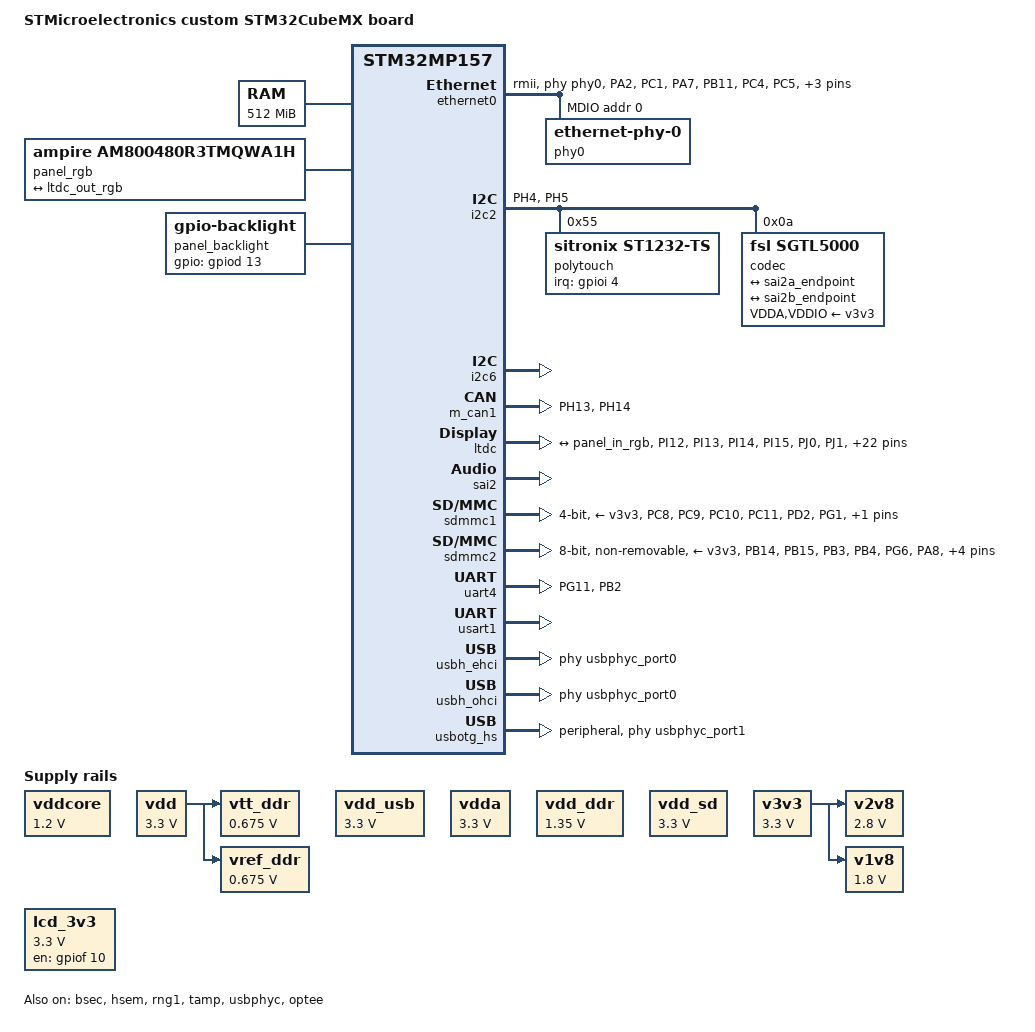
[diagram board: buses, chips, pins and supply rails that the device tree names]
	/* SPDX-License-Identifier: (GPL-2.0+ OR BSD-3-Clause) */
	/*
	* Copyright (C) STMicroelectronics 2020 - All Rights Reserved
	* Author: STM32CubeMX code generation for STMicroelectronics.
	*/

	/* For more information on Device Tree configuration, please refer to
	* https://wiki.st.com/stm32mpu/wiki/Category:Device_tree_configuration
	*/

/dts-v1/;
#include <dt-bindings/pinctrl/stm32-pinfunc.h>

#include "stm32mp157.dtsi"
#include "stm32mp15xa.dtsi"
#include "stm32mp15-pinctrl.dtsi"
#include "stm32mp15xxaa-pinctrl.dtsi"
#include "stm32mp157-m4-srm.dtsi"
#include "stm32mp157-m4-srm-pinctrl.dtsi"

/* SAME OF KERNEL */
/* STM32MP157
 * 256 DDR
 * 600MHz
 */

/ {
		model = "STMicroelectronics custom STM32CubeMX board";
		compatible = "st,stm32mp157a-icorest-mx", "st,stm32mp157";

	config {
	    st,reset-phy-gpios = <&gpiod 10 GPIO_ACTIVE_LOW>;
	};

	aliases {
		ethernet0 = &ethernet0;
		serial0 = &uart4;
		serial1 = &uart8;
		serial2 = &usart3;
		serial3 = &uart7;
		serial4 = &usart1;
	};

	usb_phy_tuning: usb-phy-tuning {
		st,hs-dc-level = <2>;
		st,fs-rftime-tuning;
		st,hs-rftime-reduction;
		st,hs-current-trim = <15>;
		st,hs-impedance-trim = <1>;
		st,squelch-level = <3>;
		st,hs-rx-offset = <2>;
		st,no-lsfs-sc;
	};

	memory@c0000000 {
		device_type = "memory";
		reg = <0xc0000000 0x20000000>;
	};

	reserved-memory {
		#address-cells = <1>;
		#size-cells = <1>;
		ranges;

		optee_memory: optee@0xde000000 {
			reg = <0xde000000 0x02000000>;
			no-map;
		};

		mcuram2: mcuram2@10000000 {
			compatible = "shared-dma-pool";
			reg = <0x10000000 0x40000>;
			no-map;
		};

		vdev0vring0: vdev0vring0@10040000 {
			compatible = "shared-dma-pool";
			reg = <0x10040000 0x1000>;
			no-map;
		};

		vdev0vring1: vdev0vring1@10041000 {
			compatible = "shared-dma-pool";
			reg = <0x10041000 0x1000>;
			no-map;
		};

		vdev0buffer: vdev0buffer@10042000 {
			compatible = "shared-dma-pool";
			reg = <0x10042000 0x4000>;
			no-map;
		};

		mcuram: mcuram@30000000 {
			compatible = "shared-dma-pool";
			reg = <0x30000000 0x40000>;
			no-map;
		};

		retram: retram@38000000 {
			compatible = "shared-dma-pool";
			reg = <0x38000000 0x10000>;
			no-map;
		};
	};


	/* USER CODE BEGIN root */
	vddcore: regulator-vddcore {
		compatible = "regulator-fixed";
		regulator-name = "vddcore";
		regulator-min-microvolt = <1200000>;
		regulator-max-microvolt = <1200000>;
		regulator-always-on;
	};

	vdd: regulator-vdd {
		compatible = "regulator-fixed";
		regulator-name = "vdd";
		regulator-min-microvolt = <3300000>;
		regulator-max-microvolt = <3300000>;
		regulator-always-on;
	};

	vdd_usb: regulator-vdd_usb {
		compatible = "regulator-fixed";
		regulator-name = "vdd_usb";
		regulator-min-microvolt = <3300000>;
		regulator-max-microvolt = <3300000>;
		regulator-always-on;
	};

	vdda: regulator-vdda {
		compatible = "regulator-fixed";
		regulator-name = "vdda";
		regulator-min-microvolt = <3300000>;
		regulator-max-microvolt = <3300000>;
		regulator-always-on;
	};

	vdd_ddr: regulator-vdd_ddr {
		compatible = "regulator-fixed";
		regulator-name = "vdd_ddr";
		regulator-min-microvolt = <1350000>;
		regulator-max-microvolt = <1350000>;
		regulator-always-on;
	};

	vtt_ddr: regulator-vtt_ddr {
		compatible = "regulator-fixed";
		regulator-name = "vtt_ddr";
		regulator-min-microvolt = <675000>;
		regulator-max-microvolt = <675000>;
		regulator-always-on;
		vin-supply = <&vdd>;
	};

	vref_ddr: regulator-vref_ddr {
		compatible = "regulator-fixed";
		regulator-name = "vref_ddr";
		regulator-min-microvolt = <675000>;
		regulator-max-microvolt = <675000>;
		regulator-always-on;
		vin-supply = <&vdd>;
	};

	vdd_sd: regulator-vdd_sd {
		compatible = "regulator-fixed";
		regulator-name = "vdd_sd";
		regulator-min-microvolt = <3300000>;
		regulator-max-microvolt = <3300000>;
		regulator-always-on;
	};

	v3v3: regulator-v3v3 {
		compatible = "regulator-fixed";
		regulator-name = "v3v3";
		regulator-min-microvolt = <3300000>;
		regulator-max-microvolt = <3300000>;
		regulator-always-on;
	};

	v2v8: regulator-v2v8 {
		compatible = "regulator-fixed";
		regulator-name = "v2v8";
		regulator-min-microvolt = <2800000>;
		regulator-max-microvolt = <2800000>;
		regulator-always-on;
		vin-supply = <&v3v3>;
	};

	v1v8: regulator-v1v8 {
		compatible = "regulator-fixed";
		regulator-name = "v1v8";
		regulator-min-microvolt = <1800000>;
		regulator-max-microvolt = <1800000>;
		regulator-always-on;
		vin-supply = <&v3v3>;
	};

	/*vbus_otg: regulator-vbus_otg {
		compatible = "regulator-fixed";
		regulator-name = "vbus_otg";
		regulator-min-microvolt = <5000000>;
		regulator-max-microvolt = <5000000>;
		regulator-always-on;
	};*/

	lcd_3v3: regulator-lcd_3v3 {
		compatible = "regulator-fixed";
		regulator-name = "lcd_3v3";
		regulator-min-microvolt = <3300000>;
		regulator-max-microvolt = <3300000>;
		gpio = <&gpiof 10 0>;
		enable-active-high;
		regulator-always-on;
	};
	/* USER CODE END root */

	clocks {
		#ifndef CONFIG_STM32MP1_TRUSTED
		clk_lsi: clk-lsi {
			clock-frequency = <32000>;
		};
		clk_hsi: clk-hsi {
			clock-frequency = <64000000>;
		};
		clk_csi: clk-csi {
			clock-frequency = <4000000>;
		};
		clk_lse: clk-lse {
			clock-frequency = <32768>;
		};
		clk_hse: clk-hse {
			clock-frequency = <24000000>;
		};
	#endif	/*CONFIG_STM32MP1_TRUSTED*/
	};

	panel_rgb: panel-rgb {
		compatible = "ampire,am800480r3tmqwa1h";
		status = "okay";
		port {
			panel_in_rgb: endpoint {
				remote-endpoint = <&ltdc_out_rgb>;
			};
		};
	};

	panel_backlight: panel-backlight {
		compatible = "gpio-backlight";
		gpios = <&gpiod 13 GPIO_ACTIVE_HIGH>;
		default-on;
		status = "okay";
	};

};

&pinctrl {
	u-boot,dm-pre-reloc;

	eth1_pins_mx: eth1_mx-0 {
		pins1 {
			pinmux = <STM32_PINMUX('A', 2, AF11)>, /* ETH_MDIO */
				<STM32_PINMUX('C', 1, AF11)>, /* ETH_MDC */
				<STM32_PINMUX('A', 7, AF11)>, /* ETH_RX_DV */
				<STM32_PINMUX('B', 11, AF11)>, /* ETH_TX_EN */
				<STM32_PINMUX('C', 4, AF11)>, /* ETH_RX_D0 */
				<STM32_PINMUX('C', 5, AF11)>, /* ETH_RX_D1 */
				<STM32_PINMUX('G', 13, AF11)>, /* ETH_TX_D0 */
				<STM32_PINMUX('G', 14, AF11)>; /* ETH_TX_D1 */
			bias-disable;
			drive-push-pull;
			slew-rate = <3>;
		};

		pins2 {
			pinmux = <STM32_PINMUX('A', 1, AF0)>; /* ETH_CLK */
			bias-disable;
			slew-rate = <1>;
		};
	};

	fdcan1_pins_mx: fdcan1_mx-0 {
		pins1 {
			pinmux = <STM32_PINMUX('H', 13, AF9)>; /* FDCAN1_TX */
			bias-disable;
			drive-push-pull;
			slew-rate = <0>;
		};
		pins2 {
			pinmux = <STM32_PINMUX('H', 14, AF9)>; /* FDCAN1_RX */
			bias-disable;
		};
	};

	i2c2_pins_mx: i2c2_mx-0 {
		pins {
			pinmux = <STM32_PINMUX('H', 4, AF4)>, /* I2C2_SCL */
						<STM32_PINMUX('H', 5, AF4)>; /* I2C2_SDA */
			bias-disable;
			drive-open-drain;
			slew-rate = <0>;
		};
	};

	rtc_pins_mx: rtc_mx-0 {
		pins {
			pinmux = <STM32_PINMUX('I', 8, ANALOG)>; /* RTC_LSCO */
		};
	};

	sai2a_pins_mx: sai2a_mx-0 {
		pins {
			pinmux = <STM32_PINMUX('E', 0, AF10)>, /* SAI2_MCLK_A */
								<STM32_PINMUX('I', 5, AF10)>, /* SAI2_SCK_A */
								<STM32_PINMUX('I', 6, AF10)>, /* SAI2_SD_A */
								<STM32_PINMUX('I', 7, AF10)>; /* SAI2_FS_A */
			bias-disable;
			drive-push-pull;
			slew-rate = <0>;
		};
	};

	sai2b_pins_mx: sai2b_mx-0 {
		pins {
			pinmux = <STM32_PINMUX('C', 0, AF8)>, /* SAI2_FS_B */
								<STM32_PINMUX('E', 6, AF10)>, /* SAI2_MCLK_B */
								<STM32_PINMUX('F', 11, AF10)>, /* SAI2_SD_B */
								<STM32_PINMUX('H', 2, AF10)>; /* SAI2_SCK_B */
			bias-disable;
			drive-push-pull;
			slew-rate = <0>;
		};
	};

	sdmmc1_pins_mx: sdmmc1_mx-0 {
		u-boot,dm-pre-reloc;
		pins1 {
			u-boot,dm-pre-reloc;
			pinmux = <STM32_PINMUX('C', 8, AF12)>, /* SDMMC1_D0 */
								<STM32_PINMUX('C', 9, AF12)>, /* SDMMC1_D1 */
								<STM32_PINMUX('C', 10, AF12)>, /* SDMMC1_D2 */
								<STM32_PINMUX('C', 11, AF12)>, /* SDMMC1_D3 */
								<STM32_PINMUX('D', 2, AF12)>, /* SDMMC1_CMD */
								<STM32_PINMUX('G', 1, GPIO)>; /* SDMMC1_CD */
			bias-pull-up;
			drive-push-pull;
			slew-rate = <1>;
		};
		pins2 {
			u-boot,dm-pre-reloc;
			pinmux = <STM32_PINMUX('C', 12, AF12)>; /* SDMMC1_CK */
			bias--pull-up;
			drive-push-pull;
			slew-rate = <3>;
		};
	};

	sdmmc2_pins_mx: sdmmc2_mx-0 {
		u-boot,dm-pre-reloc;
		pins1 {
			u-boot,dm-pre-reloc;
			pinmux = <STM32_PINMUX('B', 14, AF9)>, /* SDMMC2_D0 */
					<STM32_PINMUX('B', 15, AF9)>, /* SDMMC2_D1 */
					<STM32_PINMUX('B', 3, AF9)>, /* SDMMC2_D2 */
					<STM32_PINMUX('B', 4, AF9)>, /* SDMMC2_D3 */
					<STM32_PINMUX('G', 6, AF10)>, /* SDMMC2_CMD */
					<STM32_PINMUX('A', 8, AF9)>, /* SDMMC2_D4 */
					<STM32_PINMUX('A', 9, AF10)>, /* SDMMC2_D5 */
					<STM32_PINMUX('E', 5, AF9)>, /* SDMMC2_D6 */
					<STM32_PINMUX('D', 3, AF9)>; /* SDMMC2_D7 */
			slew-rate = <3>;
			drive-push-pull;
			bias-pull-up;
		};
		pins2 {
			u-boot,dm-pre-reloc;
			pinmux = <STM32_PINMUX('E', 3, AF9)>; /* SDMMC2_CK */
			bias-disable;
			drive-push-pull;
			slew-rate = <3>;
		};
	};

	uart4_pins_mx: uart4_mx-0 {
		u-boot,dm-pre-reloc;
		pins1 {
			u-boot,dm-pre-reloc;
			pinmux = <STM32_PINMUX('G', 11, AF6)>; /* UART4_TX */
			bias-disable;
			drive-push-pull;
			slew-rate = <0>;
		};
		pins2 {
			u-boot,dm-pre-reloc;
			pinmux = <STM32_PINMUX('B', 2, AF8)>; /* UART4_RX */
			bias-disable;
		};
	};

	pinctrl_st1232_ts: pinctrl_st1232_ts-0 {
		pins {
			pinmux = <STM32_PINMUX('I', 4, GPIO)>;
		};
	};

	lcd_pins_icore: lcd-0 {
		pins {
			pinmux = <STM32_PINMUX('I', 12,  AF14)>,/* LCD_HSYNC */
							<STM32_PINMUX('I', 13,  AF14)>,/* LCD_VSYNC */
							<STM32_PINMUX('I', 14,  AF14)>,/* LCD_PIXCLK */
							<STM32_PINMUX('I', 15,  AF14)>,/* LCD_R0 */
							<STM32_PINMUX('J', 0,  AF14)>,/* LCD_R1 */
							<STM32_PINMUX('J', 1,  AF14)>,/* LCD_R2 */
							<STM32_PINMUX('J', 2,  AF14)>,/* LCD_R3 */
							<STM32_PINMUX('J', 3,  AF14)>,/* LCD_R4 */
							<STM32_PINMUX('J', 4,  AF14)>,/* LCD_R5 */
							<STM32_PINMUX('J', 5,  AF14)>,/* LCD_R6 */
							<STM32_PINMUX('J', 6,  AF14)>,/* LCD_R7 */
							<STM32_PINMUX('J', 7,  AF14)>,/* LCD_G0 */
							<STM32_PINMUX('J', 8,  AF14)>,/* LCD_G1 */
							<STM32_PINMUX('J', 9,  AF14)>,/* LCD_G2 */
							<STM32_PINMUX('J', 10,  AF14)>,/* LCD_G3 */
							<STM32_PINMUX('J', 11,  AF14)>,/* LCD_G4 */
							<STM32_PINMUX('J', 12,  AF14)>,/* LCD_B0 */
							<STM32_PINMUX('J', 13,  AF14)>,/* LCD_B1 */
							<STM32_PINMUX('J', 14,  AF14)>,/* LCD_B2 */
							<STM32_PINMUX('J', 15,  AF14)>,/* LCD_B3 */
							<STM32_PINMUX('K', 0,  AF14)>,/* LCD_G5 */
							<STM32_PINMUX('K', 1,  AF14)>,/* LCD_G6 */
							<STM32_PINMUX('K', 2,  AF14)>,/* LCD_G7 */
							<STM32_PINMUX('K', 3,  AF14)>,/* LCD_B4 */
							<STM32_PINMUX('K', 4,  AF14)>,/* LCD_B5 */
							<STM32_PINMUX('K', 5,  AF14)>,/* LCD_B6 */
							<STM32_PINMUX('K', 6,  AF14)>,/* LCD_B7 */
							<STM32_PINMUX('K', 7,  AF14)>;/* LCD_DE */
			bias-disable;
			drive-push-pull;
			slew-rate = <3>;
		};
	};
};

&pinctrl_z {
	u-boot,dm-pre-reloc;

	i2c6_pins_z_mx: i2c6_mx-0 {
		pins {
			pinmux = <STM32_PINMUX('Z', 7, AF2)>, /* I2C6_SDA */
								<STM32_PINMUX('Z', 6, AF2)>; /* I2C6_SCL */
			bias-disable;
			drive-open-drain;
			slew-rate = <0>;
		};
	};

	usart1_pins_mx: usart1_mx-0 {
		u-boot,dm-pre-reloc;
		pins1 {
			u-boot,dm-pre-reloc;
			pinmux = <STM32_PINMUX('Z', 1, AF7)>; /* USART1_RX */
			bias-disable;
		};
		pins2 {
			u-boot,dm-pre-reloc;
			pinmux = <STM32_PINMUX('Z', 2, AF7)>; /* USART1_TX */
			bias-disable;
			drive-push-pull;
			slew-rate = <0>;
		};
	};
};
&pinctrl_z {
	u-boot,dm-pre-reloc;

	usart1_pins_z_mx: usart1_mx-0 {
		u-boot,dm-pre-reloc;
		pins1 {
			u-boot,dm-pre-reloc;
			pinmux = <STM32_PINMUX('Z', 6, AF7)>; /* USART1_RX */
			bias-disable;
		};
		pins2 {
			u-boot,dm-pre-reloc;
			pinmux = <STM32_PINMUX('Z', 7, AF7)>; /* USART1_TX */
			bias-disable;
			drive-push-pull;
			slew-rate = <0>;
		};
	};
};

&bsec{
	status = "okay";
};

&ethernet0 {
	pinctrl-names = "default";
	pinctrl-0 = <&eth1_pins_mx>;
	phy-mode = "rmii";
	max-speed = <100>;
	phy-handle = <&phy0>;
	snps,ps-speed = <100>;
	st,eth_ref_clk_sel;
	status = "okay";

	clock-names = "stmmaceth",
			"mac-clk-tx",
			"mac-clk-rx",
			"ethstp",
			"syscfg-clk",
			"eth-ck";

	clocks = <&rcc ETHMAC>,
		<&rcc ETHTX>,
		<&rcc ETHRX>,
		<&rcc ETHSTP>,
		<&rcc SYSCFG>,
		<&rcc ETHCK_K>;

//	snps,reset-gpio = <&gpiod 10 0>;
//	snps,reset-delays-us = <25>;
//	snps,reset-active-low;

	mdio0 {
		#address-cells = <1>;
		#size-cells = <0>;
		compatible = "snps,dwmac-mdio";

		phy0: ethernet-phy-0 {
			reg = <0>;
		};
	};
};

&fmc {
	status = "disabled";
};

&gpu {
	status = "disabled";
};

&hsem {
	status = "okay";
};

&i2c2 {
	pinctrl-names = "default";
	pinctrl-0 = <&i2c2_pins_mx>;
	i2c-scl-rising-time-ns = <185>;
	i2c-scl-falling-time-ns = <20>;
	status = "okay";
	/delete-property/dmas;
	/delete-property/dma-names;

	polytouch: st1232_ts@55 {
		compatible = "sitronix,st1232-ts";
		reg = <0x55>;
		pinctrl-names = "default";
		pinctrl-0 = <&pinctrl_st1232_ts>;
		interrupt-parent = <&gpioi>;
		interrupts = <4 2>;
	};

	codec: sgtl5000@a {
		compatible = "fsl,sgtl5000";
		#sound-dai-cells = <0>;
		reg = <0x0a>;
		status = "okay";

		clocks = <&sai2a>;
		clock-names = "MCLK";

		VDDA-supply = <&v3v3>;
		VDDIO-supply = <&v3v3>;

		ports {
			#address-cells = <1>;
			#size-cells = <0>;

			sgtl5000_tx_port: port@0 {
				reg = <0>;
				sgtl5000_tx_endpoint: endpoint {
					remote-endpoint = <&sai2a_endpoint>;
				};
			};

			sgtl5000_rx_port: port@1 {
				reg = <1>;
				sgtl5000_rx_endpoint: endpoint {
					remote-endpoint = <&sai2b_endpoint>;
				};
			};
		};
	};
};

&i2c6 {
	pinctrl-names = "default";
	pinctrl-0 = <&i2c6_pins_z_mx>;
	i2c-scl-rising-time-ns = <185>;
	i2c-scl-falling-time-ns = <20>;
	status = "okay";
	/delete-property/dmas;
	/delete-property/dma-names;
};

&m_can1{
	pinctrl-names = "default";
	pinctrl-0 = <&fdcan1_pins_mx>;
	status = "okay";
};

&dma1 {
	status = "okay";
};

&dma2 {
	status = "okay";
};

&iwdg2{
	status = "disabled";
};

&rcc {
	u-boot,dm-pre-reloc;
	status = "okay";
};

&rng1 {
	status = "okay";
};

&ltdc {
	status = "okay";
	pinctrl-0 = <&lcd_pins_icore>;
	pinctrl-names = "default";
	backlight = <&panel_backlight>;

	port {
		#address-cells = <1>;
		#size-cells = <0>;

		ltdc_out_rgb: endpoint@0 {
			reg = <0>;
			remote-endpoint = <&panel_in_rgb>;
		};
	};
};

&sai2 {
	clocks = <&rcc SAI2>, <&rcc PLL3_Q>, <&rcc PLL4_Q>;
	clock-names = "pclk", "x8k", "x11k";
	status = "okay";
	frame-master;
	bitclock-master;
	sai2a: audio-controller@4400b004 {
		#clock-cells = <0>;
		pinctrl-names = "default";
		pinctrl-0 = <&sai2a_pins_mx>;
		dma-names = "tx";
		clocks = <&rcc SAI2_K>, <&sai2a>;
		clock-names = "sai_ck", "MCLK";
		status = "okay";

		sai2a_port: port@0 {
			sai2a_endpoint: endpoint {
				remote-endpoint = <&sgtl5000_tx_endpoint>;
				format = "i2s";
				mclk-fs = <256>;
			};
		};
	};

	sai2b: audio-controller@4400b024 {
		pinctrl-names = "default";
		pinctrl-0 = <&sai2b_pins_mx>;
		dma-names = "rx";
		clocks = <&rcc SAI2_K>, <&sai2a>;
		clock-names = "sai_ck", "MCLK";
		st,sync = <&sai2a 2>;
		status = "okay";

		sai2b_port: port@0 {
			sai2b_endpoint: endpoint {
				remote-endpoint = <&sgtl5000_rx_endpoint>;
				format = "i2s";
				mclk-fs = <256>;
			};
		};
	};
};

&sdmmc1 {
	u-boot,dm-pre-reloc;
	pinctrl-names = "default";
	pinctrl-0 = <&sdmmc1_pins_mx>;
	status = "okay";

	broken-cd;
	st,neg-edge;
	bus-width = <4>;
	vmmc-supply = <&v3v3>;
};


&sdmmc2 {
	u-boot,dm-pre-reloc;
	pinctrl-names = "default";
	pinctrl-0 = <&sdmmc2_pins_mx>;
	status = "okay";

	non-removable;
	no-sd;
	no-sdio;
	st,dirpol;
	st,negedge;
	bus-width = <8>;
	vmmc-supply = <&v3v3>;
	vqmmc-supply = <&v3v3>;
};

&tamp{
	status = "okay";
};


&uart4 {
	u-boot,dm-pre-reloc;
	pinctrl-names = "default";
	pinctrl-0 = <&uart4_pins_mx>;
	status = "okay";
};

&usart1 {
    u-boot,dm-pre-reloc;
    pinctrl-names = "default";
    pinctrl-0 = <&usart1_pins_mx>;
    status = "okay";
};

&usbh_ehci {
	phys = <&usbphyc_port0>;
	phy-names = "usb";
	status = "okay";
};

&usbh_ohci {
	phys = <&usbphyc_port0>;
	phy-names = "usb";
	status = "okay";
};

&usbotg_hs {
	dr_mode = "peripheral";
	force-b-session-valid;
	phys = <&usbphyc_port1 0>;
	phy-names = "usb2-phy";
	status = "okay";
};

&usbphyc {
	status = "okay";
};

&usbphyc_port0 {
	st,phy-tuning = <&usb_phy_tuning>;
};

&usbphyc_port1 {
	st,phy-tuning = <&usb_phy_tuning>;
};

&cpu0{
	cpu-supply = <&vddcore>;
};

&cpu1{
	cpu-supply = <&vddcore>;
};

&optee {
	status = "okay";
};
